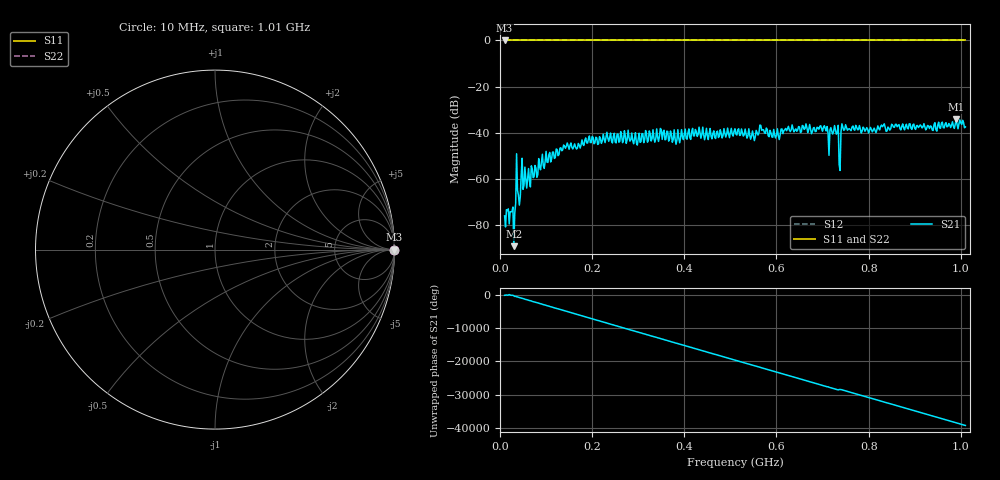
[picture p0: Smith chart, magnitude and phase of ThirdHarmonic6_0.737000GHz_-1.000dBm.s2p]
! 8/16/2025 12:40:13 AM
! C:\ANRITSUVNA\TEMP\TEMP.S2P
! CHANNEL.1
! TR.MEASUREMENT
! RAW.DATA
! RF.CORRECTION.OFF
! AVERAGING.OFF
! IF.BANDWIDTH: 5KHZ
! SWEEPTYPE:  FREQ.SWEEP(Linear)
! Reference Plane Port Info
! PORT:  PORT1  PORT2
! DISTANCE:  0  m  0  m
! TIME:  0  s  0  s
! PHASE.OFFSET:  0  deg.  0  deg.
! LOSS:  0  dB  0  dB
! REF.LOSS:  0  dB  0  dB
! REF.FREQ:  0  Hz  0  Hz
! Power Info
! POWER:  -20  dBm  -20  dBm
! EFF.POWER:  -20  dBm  -20  dBm
! SOURCE.ATTEN:  0  dB  0  dB
! TEST.ATTEN:  0  dB  0  dB
# GHZ S RI R 50.0
! FREQ.GHZ  S11RE  S11IM  S21RE  S21IM  S12RE  S12IM  S22RE  S22IM
!; PortSelection: Port_12
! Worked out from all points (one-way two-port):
!   501 points, 10 MHz to 1.01 GHz, reference 50 ohm
!   highest |S21| = -34.27 dB at 990 MHz (marker M1); lowest = -89.3 dB at 30 MHz (marker M2)
!   lowest |S11| = 0.0 dB at 10 MHz (marker M3)
!   |S11| at or under -10 dB: nowhere
!   |S22| runs from 0.0 to 0.0 dB; largest |S21 - S12| = 1
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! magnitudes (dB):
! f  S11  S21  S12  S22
! 10 MHz  0.0  -76.1  0.0  0.0
! 30 MHz  0.0  -89.3  0.0  0.0
! 36 MHz  0.0  -49.2  0.0  0.0
! 42 MHz  0.0  -71.4  0.0  0.0
! 50 MHz  0.0  -64.6  0.0  0.0
! 62 MHz  0.0  -55.6  0.0  0.0
! 104 MHz  0.0  -52.9  0.0  0.0
! 178 MHz  0.0  -43.2  0.0  0.0
! 344 MHz  0.0  -43.8  0.0  0.0
! 386 MHz  0.0  -38.7  0.0  0.0
! 428 MHz  0.0  -41.6  0.0  0.0
! 510 MHz  0.0  -38.3  0.0  0.0
! 678 MHz  0.0  -39.5  0.0  0.0
! 706 MHz  0.0  -38.2  0.0  0.0
! 718 MHz  0.0  -37.8  0.0  0.0
! 730 MHz  0.0  -40.7  0.0  0.0
! 734 MHz  0.0  -36.8  0.0  0.0
! 740 MHz  0.0  -39.7  0.0  0.0
! 746 MHz  0.0  -39.0  0.0  0.0
! 844 MHz  0.0  -38.1  0.0  0.0
! 990 MHz  0.0  -34.3  0.0  0.0
! 1.01 GHz  0.0  -37.5  0.0  0.0
